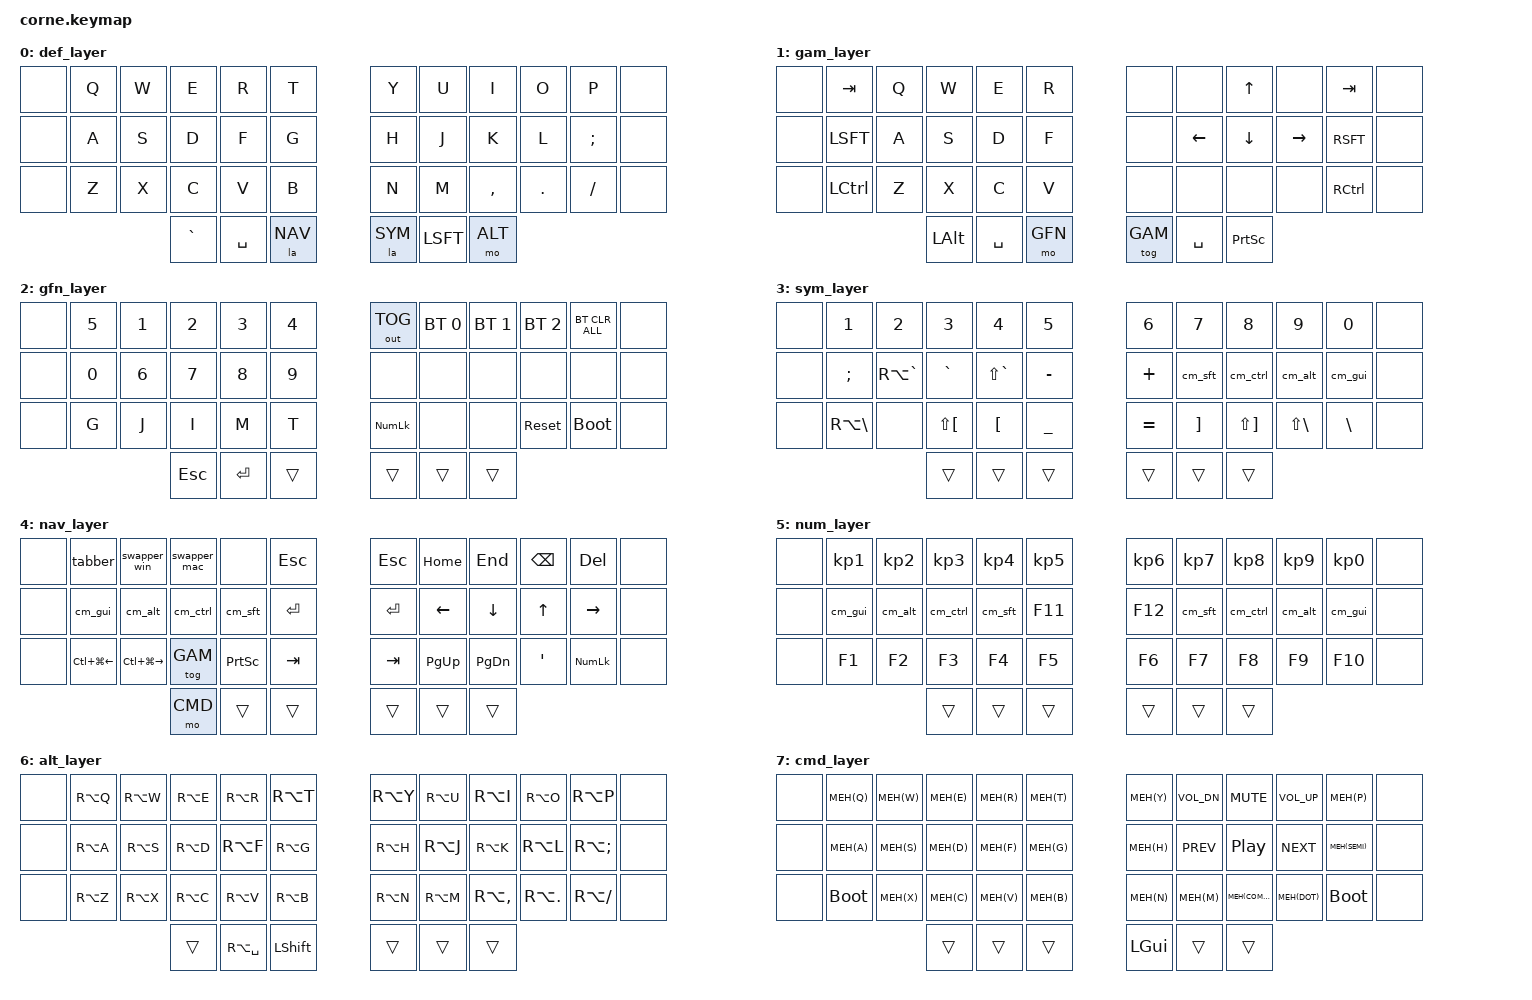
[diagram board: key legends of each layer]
#include <behaviors.dtsi>
#include <dt-bindings/zmk/outputs.h>
#include <dt-bindings/zmk/keys.h>
#include <dt-bindings/zmk/bt.h>

#include <dt-bindings/zmk/ext_power.h>

#define _ &kp
#define ___ &none
#define ______ &trans

#define DEF 0
#define GAM 1
#define GFN 2
#define SYM 3
#define NAV 4
#define NUM 5
#define ALT 6
#define CMD 7

#define MEH(key) LS(LC(LA(key)))

#define SQT GRAVE
#define DQT LS(GRAVE)
#define GRV RA(GRAVE)
#define PIP LS(BSLH)
#define BSL RA(BSLH)
#define NBSP RA(SPACE)

#define NSPC LC(LG(RIGHT))
#define PSPC LC(LG(LEFT))

// custom implementation of modified callum-mods,
// which can be released on second keypress
// and also work with swapper and/or tabber

#define PARAM_1 0
#define PARAM_2 0

#define MACRO(NAME, COMPATIBLE, BINDING_CELLS, BINDINGS) \
    NAME: NAME { \
        compatible = COMPATIBLE; \
        #binding-cells = <BINDING_CELLS>; \
        wait-ms = <0>; \
        tap-ms = <0>; \
        bindings = \
            <BINDINGS>; \
    };

#define MACRO_NO_PARAM(NAME, BINDINGS)  MACRO(NAME, "zmk,behavior-macro"          , 0, BINDINGS)
#define MACRO_ONE_PARAM(NAME, BINDINGS) MACRO(NAME, "zmk,behavior-macro-one-param", 1, BINDINGS)
#define MACRO_TWO_PARAM(NAME, BINDINGS) MACRO(NAME, "zmk,behavior-macro-two-param", 2, BINDINGS)

#define MAX_TIMER __UINT32_MAX__ // around 50 days

#define STICKY_FOREVER(NAME, BIND) \
    NAME: NAME { \
        compatible = "zmk,behavior-sticky-key"; \
        #binding-cells = <1>; \
        bindings = <BIND>; \
        release-after-ms = <MAX_TIMER>; \
        ignore-modifiers; \
    };

#define MODMORPH(NAME, NORMAL, MORPHED, MODS, KEEP_MODS) \
    NAME: NAME { \
        compatible = "zmk,behavior-mod-morph"; \
        #binding-cells = <0>; \
        bindings = <NORMAL>, <MORPHED>; \
        mods = <(MODS)>; \
        keep-mods = <(KEEP_MODS)>; \
    };

&sk {
        release-after-ms = <60000>;
};

/ {
    behaviors {
        MACRO_ONE_PARAM(
            m_release_key_twice,
            &macro_release
                &macro_param_1to1 &kp PARAM_1
                &macro_param_1to1 &kp PARAM_1
        )


        MACRO_ONE_PARAM(
            m_press_key_twice,
            &macro_press
                &macro_param_1to1 &kp PARAM_1
                &macro_param_1to1 &kp PARAM_1
            &macro_pause_for_release
            &macro_tap
                &m_release_key_twice PARAM_1
        )

        STICKY_FOREVER(sticky_forever, &m_press_key_twice)

        MODMORPH(
            cm_gui,
            &sticky_forever LGUI,
            &m_release_key_twice LGUI,
            MOD_LGUI,
            MOD_LGUI
        )

        MODMORPH(
            cm_alt,
            &sticky_forever LALT,
            &m_release_key_twice LALT,
            MOD_LALT,
            MOD_LALT
        )

        MODMORPH(
            cm_ctrl,
            &sticky_forever LCTRL,
            &m_release_key_twice LCTRL,
            MOD_LCTL,
            MOD_LCTL
        )

        MODMORPH(
            cm_sft,
            &sticky_forever LSHIFT,
            &m_release_key_twice LSHIFT,
            MOD_LSFT,
            MOD_LSFT
        )

        MACRO_TWO_PARAM(
            m_hold_mod_press_key,
            &macro_press
                &macro_param_1to1 &kp PARAM_1
            &macro_tap
                &macro_param_2to1 &kp PARAM_2
        )

        MODMORPH(
            tabber,
            &m_hold_mod_press_key LCTRL TAB,
            &kp TAB,
            MOD_LCTL,
            MOD_LCTL
        )

        MODMORPH(
            swapper_win,
            &m_hold_mod_press_key LALT TAB,
            &kp TAB,
            MOD_LALT,
            MOD_LALT
        )

        MODMORPH(
            swapper_mac,
            &m_hold_mod_press_key LGUI TAB,
            &kp TAB,
            MOD_LGUI,
            MOD_LGUI
        )

        MACRO_ONE_PARAM(
            la,
            &macro_tap
                &kp 0 // do nothing, fire all sticky keys
            &macro_press
                &macro_param_1to1 &mo PARAM_1
            &macro_pause_for_release
            &macro_release
                &macro_param_1to1 &mo PARAM_1
                &kp LSHFT
                &kp LCTRL
                &kp LALT
                &kp LGUI
        )
    };

    conditional_layers {
        compatible = "zmk,conditional-layers";
        tri_layer {
            if-layers  = <NAV SYM>;
            then-layer = <NUM>;
        };
    };
};

/ {
    keymap {
        compatible = "zmk,keymap";

        def_layer {
            bindings = <
___         _ Q          _ W          _ E          _ R         _ T             _ Y          _ U          _ I          _ O          _ P         ___
___         _ A          _ S          _ D          _ F         _ G             _ H          _ J          _ K          _ L          _ SEMI         ___
___         _ Z          _ X          _ C          _ V         _ B             _ N          _ M          _ COMMA      _ DOT        _ FSLH         ___
                          _ GRAVE       _ SPACE     &la NAV         &la SYM      _ LSFT       &mo ALT
            >;
        };

        gam_layer {
            bindings = <
___         _ TAB        _ Q          _ W          _ E         _ R             ___          ___          _ UP         ___          _ TAB         ___
___         _ LSFT       _ A          _ S          _ D         _ F             ___          _ LEFT       _ DOWN       _ RIGHT      _ RSFT         ___
___         _ LCTRL      _ Z          _ X          _ C         _ V             ___          ___          ___          ___          _ RCTRL         ___
                          _ LALT       _ SPACE     &mo GFN         &tog GAM     _ SPACE      _ PSCRN
            >;
        };

        gfn_layer {
            bindings = <
___         _ N5         _ N1         _ N2         _ N3        _ N4            &out OUT_TOG &bt BT_SEL 0 &bt BT_SEL 1 &bt BT_SEL 2 &bt BT_CLR_ALL         ___
___         _ N0         _ N6         _ N7         _ N8        _ N9            ___          ___          ___          ___          ___         ___
___         _ G          _ J          _ I          _ M         _ T             _ KP_NUM     ___          ___          &sys_reset   &bootloader         ___
                          _ ESC        _ RET       ______          ______       ______       ______
            >;
        };

        sym_layer {
            bindings = <
___         _ N1         _ N2         _ N3         _ N4        _ N5            _ N6         _ N7         _ N8         _ N9         _ N0         ___
___         _ SEMI       _ GRV        _ SQT        _ DQT       _ MINUS         _ PLUS       &cm_sft      &cm_ctrl     &cm_alt      &cm_gui         ___
___         _ BSL        ___          _ LS(LBKT)   _ LBKT      _ UNDER         _ EQUAL      _ RBKT       _ LS(RBKT)   _ PIP        _ BSLH         ___
                          ______       ______      ______          ______       ______       ______
            >;
        };

        nav_layer {
            bindings = <
___         &tabber      &swapper_win &swapper_mac ___         _ ESC           _ ESC        _ HOME       _ END        _ BSPC       _ DEL         ___
___         &cm_gui      &cm_alt      &cm_ctrl     &cm_sft     _ RET           _ RET        _ LEFT       _ DOWN       _ UP         _ RIGHT         ___
___         _ PSPC       _ NSPC       &tog GAM     _ PSCRN     _ TAB           _ TAB        _ PG_UP      _ PG_DN      _ APOS       _ KP_NUM         ___
                          &mo CMD      ______      ______          ______       ______       ______
            >;
        };

        num_layer {
            bindings = <
___         _ KP_N1      _ KP_N2      _ KP_N3      _ KP_N4     _ KP_N5         _ KP_N6      _ KP_N7      _ KP_N8      _ KP_N9      _ KP_N0         ___
___         &cm_gui      &cm_alt      &cm_ctrl     &cm_sft     _ F11           _ F12        &cm_sft      &cm_ctrl     &cm_alt       &cm_gui         ___
___         _ F1         _ F2         _ F3         _ F4        _ F5            _ F6         _ F7         _ F8         _ F9         _ F10         ___
                          ______       ______      ______          ______       ______       ______
            >;
        };

        alt_layer {
            bindings = <
___         _ RA(Q)      _ RA(W)      _ RA(E)      _ RA(R)     _ RA(T)         _ RA(Y)      _ RA(U)      _ RA(I)      _ RA(O)      _ RA(P)         ___
___         _ RA(A)      _ RA(S)      _ RA(D)      _ RA(F)     _ RA(G)         _ RA(H)      _ RA(J)      _ RA(K)      _ RA(L)      _ RA(SEMI)         ___
___         _ RA(Z)      _ RA(X)      _ RA(C)      _ RA(V)     _ RA(B)         _ RA(N)      _ RA(M)      _ RA(COMMA)  _ RA(DOT)    _ RA(FSLH)         ___
                          ______       _ NBSP      _ LSHFT         ______       ______       ______
            >;
        };

        cmd_layer {
            bindings = <
___         _ MEH(Q)     _ MEH(W)     _ MEH(E)     _ MEH(R)    _ MEH(T)        _ MEH(Y)     _ C_VOL_DN   _ C_MUTE     _ C_VOL_UP   _ MEH(P)         ___
___         _ MEH(A)     _ MEH(S)     _ MEH(D)     _ MEH(F)    _ MEH(G)        _ MEH(H)     _ C_PREV     _ C_PP       _ C_NEXT     _ MEH(SEMI)         ___
___         &bootloader  _ MEH(X)     _ MEH(C)     _ MEH(V)    _ MEH(B)        _ MEH(N)     _ MEH(M)     _ MEH(COMMA) _ MEH(DOT)   &bootloader         ___
                          ______       ______      ______          _ LGUI       ______       ______
            >;
        };
    };
};
